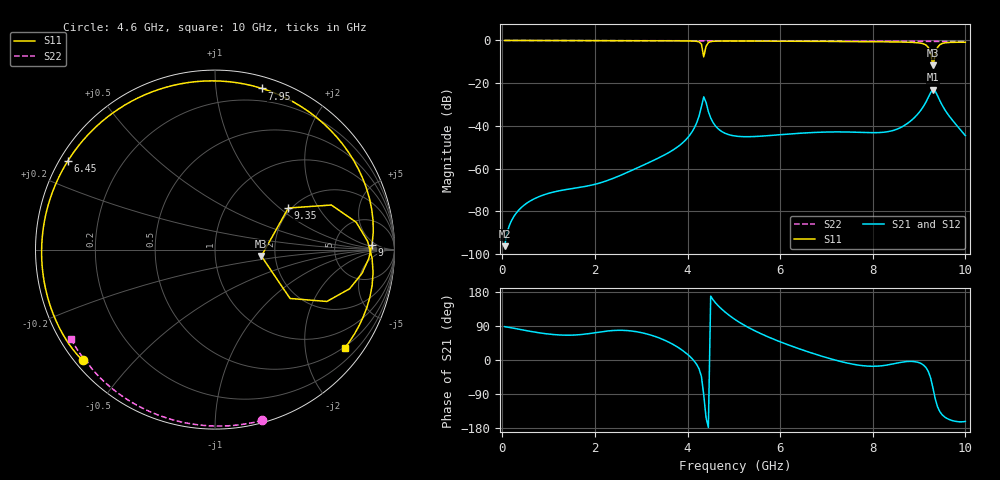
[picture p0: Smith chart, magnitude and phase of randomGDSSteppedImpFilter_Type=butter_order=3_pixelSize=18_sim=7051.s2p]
! freq	dB(S11)	phase(S11)	dB(S12)	phase(S12)
!  dB(S21)	phase(S21)	dB(S22)	phase(S22)
!S-par simulation data
#  GHz  S  DB  R 50
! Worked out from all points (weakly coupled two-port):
!   200 points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, 50 MHz to 10 GHz, reference 50 ohm
!   highest |S21| = -23.04 dB at 9.3 GHz (marker M1); lowest = -96.3 dB at 50 MHz (marker M2)
!   lowest |S11| = -11.7 dB at 9.3 GHz (marker M3), VSWR 1.71, Z = 84.5 - j6.57 ohm
!   |S11| at or under -10 dB: 9.28516 GHz to 9.316387 GHz (31.23 MHz wide, 0.336 % of centre)
!   |S22| runs from -0.5 to 0.0 dB; largest |S21 - S12| = 0
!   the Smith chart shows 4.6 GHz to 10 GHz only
!   S11 on the Smith chart (normalised r, x): 4.6 GHz: 0.02, -0.36; 6.45 GHz: 0.02, +0.28; 7.95 GHz: 0.09, +1.33; 9 GHz: 14, +3; 9.35 GHz: 1.93, +1.15; 10 GHz: 0.46, -2.90
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0.05  -0.00 -1.7  -96.28 88.1  -96.28 88.1  -0.00 -0.9
1.75  -0.07 -58.3  -68.48 67.8  -68.48 67.8  -0.04 -29.6
3.4  -0.15 -110.8  -54.71 57.6  -54.71 57.6  -0.07 -56.2
4.05  -0.23 -134.0  -44.26 9.4  -44.26 9.4  -0.09 -66.3
4.3  -1.70 -157.6  -30.97 -43.6  -30.97 -43.6  -0.11 -70.2
4.35  -7.67 -154.5  -26.41 -92.0  -26.41 -92.0  -0.14 -70.9
4.4  -2.73 -116.0  -28.98 -152.2  -28.98 -152.2  -0.12 -71.4
4.45  -0.95 -126.8  -33.27 -178.0  -33.27 -178.0  -0.11 -72.2
4.6  -0.34 -140.1  -39.93 151.5  -39.93 151.5  -0.11 -74.5
5.05  -0.26 -158.6  -44.79 104.9  -44.79 104.9  -0.13 -81.1
6.45  -0.38 148.8  -43.40 27.9  -43.40 27.9  -0.19 -101.0
6.7  -0.41 138.0  -43.10 17.7  -43.10 17.7  -0.20 -104.4
7.4  -0.50 104.4  -42.82 -6.7  -42.82 -6.7  -0.25 -113.8
7.95  -0.58 73.8  -43.15 -16.5  -43.15 -16.5  -0.29 -121.2
8.35  -0.66 49.2  -42.60 -12.4  -42.60 -12.4  -0.33 -126.4
9  -1.16 1.7  -33.71 -7.1  -33.71 -7.1  -0.39 -135.0
9.2  -3.26 -24.9  -26.61 -30.4  -26.61 -30.4  -0.44 -137.7
9.3  -11.67 -8.0  -23.04 -74.1  -23.04 -74.1  -0.48 -138.8
9.35  -6.57 29.6  -23.77 -103.1  -23.77 -103.1  -0.47 -139.3
9.45  -1.92 11.0  -28.24 -136.7  -28.24 -136.7  -0.45 -140.6
9.55  -1.15 -3.1  -32.21 -150.2  -32.21 -150.2  -0.45 -142.0
10  -0.84 -37.3  -44.57 -162.0  -44.57 -162.0  -0.50 -148.0
